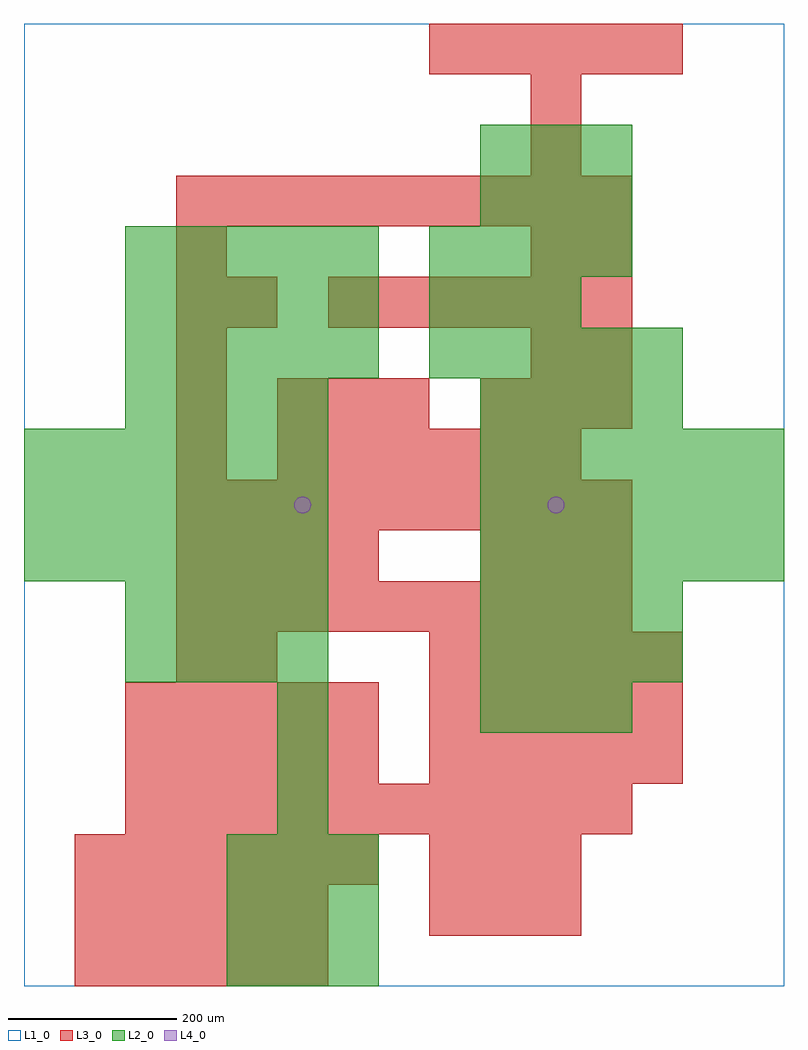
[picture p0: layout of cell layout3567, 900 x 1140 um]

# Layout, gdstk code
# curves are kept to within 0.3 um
import gdstk
lib = gdstk.Library(unit=1e-6, precision=1e-09)
def R(c, l, rs):  # rectangles x0, y0, x1, y1
    for r in rs: c.add(gdstk.rectangle(r[:2], r[2:], *l))
def A(c, l, x, y, w, h, nx, ny, dx, dy):  # array of equal rectangles
    R(c, l, [(x+i*dx, y+j*dy, x+i*dx+w, y+j*dy+h) for i in range(nx) for j in range(ny)])
def P(c, l, *ps):  # polygons
    for p in ps: c.add(gdstk.Polygon(p, *l))
L1_0 = (1, 0)
L2_0 = (2, 0)
L3_0 = (3, 0)
L4_0 = (4, 0)

layout3567 = lib.new_cell('layout3567')
R(layout3567, L1_0, [(0,0,900,1140)])
A(layout3567, L2_0, 240, 0, 60, 60, 3, 3, 60, 60)
A(layout3567, L2_0, 300, 180, 60, 60, 1, 3, 0, 60)
A(layout3567, L2_0, 540, 300, 60, 60, 3, 2, 60, 600)
A(layout3567, L2_0, 120, 360, 60, 60, 4, 2, 60, 60)
A(layout3567, L2_0, 540, 360, 60, 60, 4, 2, 60, 60)
A(layout3567, L2_0, 0, 480, 60, 60, 6, 3, 60, 60)
A(layout3567, L2_0, 540, 480, 60, 60, 6, 3, 60, 60)
A(layout3567, L2_0, 120, 660, 60, 60, 4, 1, 60, 0)
A(layout3567, L2_0, 540, 660, 60, 60, 4, 1, 60, 0)
A(layout3567, L2_0, 120, 720, 60, 60, 5, 3, 60, 60)
A(layout3567, L2_0, 480, 720, 60, 60, 5, 1, 60, 0)
A(layout3567, L2_0, 480, 780, 60, 60, 3, 1, 60, 0)
A(layout3567, L2_0, 480, 840, 60, 60, 4, 1, 60, 0)
A(layout3567, L2_0, 540, 960, 60, 60, 3, 1, 60, 0)
A(layout3567, L3_0, 60, 0, 60, 60, 5, 2, 60, 60)
A(layout3567, L3_0, 480, 60, 60, 60, 3, 2, 60, 60)
A(layout3567, L3_0, 60, 120, 60, 60, 6, 1, 60, 0)
A(layout3567, L3_0, 120, 180, 60, 60, 10, 1, 60, 0)
A(layout3567, L3_0, 120, 240, 60, 60, 5, 2, 60, 60)
A(layout3567, L3_0, 480, 240, 60, 60, 5, 3, 60, 60)
A(layout3567, L3_0, 180, 420, 60, 60, 9, 2, 60, 120)
A(layout3567, L3_0, 180, 480, 60, 60, 4, 1, 60, 0)
A(layout3567, L3_0, 540, 480, 60, 60, 3, 2, 60, 180)
A(layout3567, L3_0, 180, 600, 60, 60, 1, 5, 0, 60)
A(layout3567, L3_0, 300, 600, 60, 60, 6, 1, 60, 0)
A(layout3567, L3_0, 300, 660, 60, 60, 3, 1, 60, 0)
A(layout3567, L3_0, 600, 720, 60, 60, 1, 3, 0, 120)
A(layout3567, L3_0, 360, 780, 60, 60, 6, 1, 60, 0)
A(layout3567, L3_0, 180, 900, 60, 60, 9, 1, 60, 0)
A(layout3567, L3_0, 480, 1080, 60, 60, 5, 1, 60, 0)
R(layout3567, L3_0, [(180,360,240,420), (240,360,300,420), (660,720,720,780), (240,780,300,840), (660,840,720,900), (600,1020,660,1080)])
P(layout3567, L4_0, [(340,570),(339.239,573.827),(337.071,577.071),(333.827,579.239),(330,580),(326.173,579.239),(322.929,577.071),(320.761,573.827),(320,570),(320.761,566.173),(322.929,562.929),(326.173,560.761),(330,560),(333.827,560.761),(337.071,562.929),(339.239,566.173)],
  [(640,570),(639.239,573.827),(637.071,577.071),(633.827,579.239),(630,580),(626.173,579.239),(622.929,577.071),(620.761,573.827),(620,570),(620.761,566.173),(622.929,562.929),(626.173,560.761),(630,560),(633.827,560.761),(637.071,562.929),(639.239,566.173)])

lib.write_gds('layout3567.gds')
